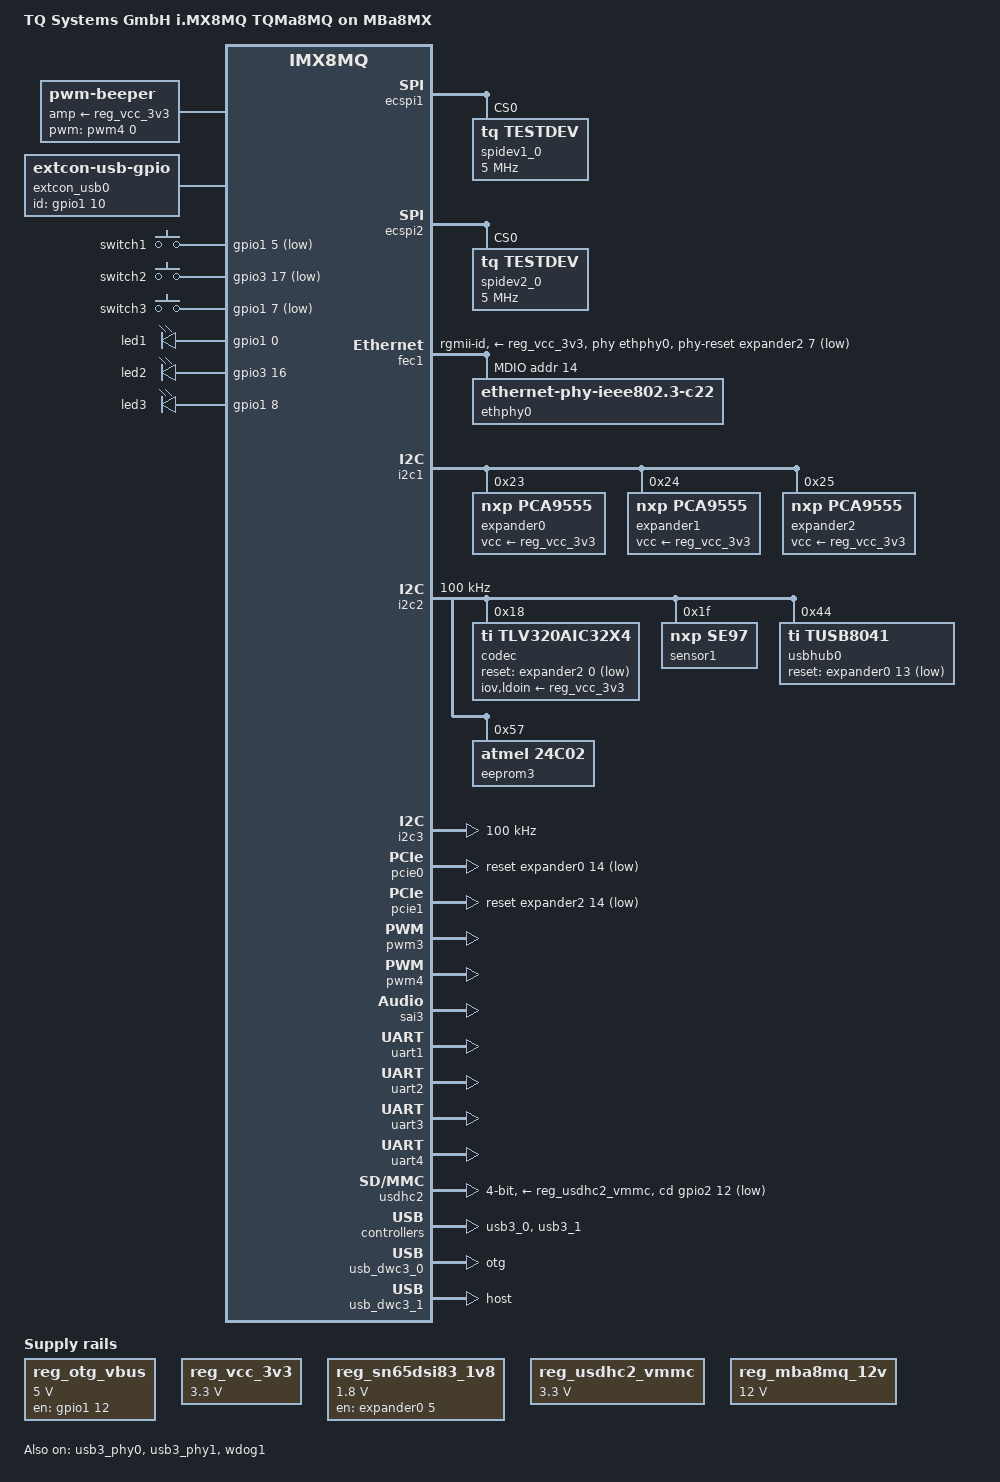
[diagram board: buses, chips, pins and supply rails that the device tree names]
/*
 * Copyright (C) 2016 Freescale Semiconductor, Inc.
 * Copyright 2017 NXP
 * Copyright 2019 TQ Systems GmbH
 *
 * This program is free software; you can redistribute it and/or
 * modify it under the terms of the GNU General Public License
 * as published by the Free Software Foundation; either version 2
 * of the License, or (at your option) any later version.
 *
 * This program is distributed in the hope that it will be useful,
 * but WITHOUT ANY WARRANTY; without even the implied warranty of
 * MERCHANTABILITY or FITNESS FOR A PARTICULAR PURPOSE.  See the
 * GNU General Public License for more details.
 */

/dts-v1/;

#include "fsl-imx8mq-tqma8mq.dtsi"
#include <dt-bindings/net/ti-dp83867.h>

/ {
	model = "TQ Systems GmbH i.MX8MQ TQMa8MQ on MBa8MX";
	compatible = "tq,imx8mq-tqma8mq-mba8mx", "tq,imx8mq-tqma8mq", "fsl,imx8mq";

	backlight_lvds0: backlight0 {
		compatible = "pwm-backlight";
		pwms = <&pwm3 0 5000000>;
		brightness-levels = <0 4 8 16 32 64 128 255>;
		default-brightness-level = <7>;
		power-supply = <&reg_mba8mq_12v>;
		enable-gpios = <&expander2 2 GPIO_ACTIVE_HIGH>;
		status = "disabled";
	};

	beeper {
		compatible = "pwm-beeper";
		pwms = <&pwm4 0 250000 0>;
		beeper-hz = <4000>;
		amp-supply = <&reg_vcc_3v3>;
		status = "okay";
	};

	chosen {
		bootargs = "console=ttymxc0,115200 earlycon=ec_imx6q,0x30860000,115200";
		stdout-path = &uart1;
	};

	extcon_usb0: extcon_usb0 {
		compatible = "linux,extcon-usb-gpio";
		pinctrl-names = "default";
		pinctrl-0 = <&pinctrl_usbcon0>;
		id-gpio = <&gpio1 10 GPIO_ACTIVE_HIGH>;
	};

	gpio-keys {
		compatible = "gpio-keys";
		autorepeat;

		switch1 {
			label = "switch1";
			linux,code = <BTN_0>;
			gpios = <&gpio1 5 GPIO_ACTIVE_LOW>;
		};

		switch2 {
			label = "switch2";
			linux,code = <BTN_1>;
			gpios = <&gpio3 17 GPIO_ACTIVE_LOW>;
		};

		switch3 {
			label = "switch3";
			linux,code = <BTN_2>;
			gpios = <&gpio1 7 GPIO_ACTIVE_LOW>;
		};
	};

	gpio-leds {
		compatible = "gpio-leds";
		status = "okay";

		led1 {
			label = "led1";
			gpios = <&gpio1 0 GPIO_ACTIVE_HIGH>;
			linux,default-trigger = "default-on";
		};

		led2 {
			label = "led2";
			gpios = <&gpio3 16 GPIO_ACTIVE_HIGH>;
			linux,default-trigger = "heartbeat";
		};

		led3 {
			label = "led3";
			gpios = <&gpio1 8 GPIO_ACTIVE_HIGH>;
		};
	};

	panel0: panel_lvds0 {
		backlight = <&backlight_lvds0>;
		power-supply = <&reg_mba8mq_12v>;
		status = "disabled";

		port {
			panel_in_lvds0: endpoint {
				remote-endpoint = <&lvds_bridge_out>;
			};
		};
	};

	reg_otg_vbus: mba8x_otg_vbus {
		compatible = "regulator-fixed";
		pinctrl-names = "default";
		pinctrl-0 = <&pinctrl_regotgvbus>;
		regulator-name = "MBA8MQ_OTG_VBUS";
		regulator-min-microvolt = <5000000>;
		regulator-max-microvolt = <5000000>;
		gpio = <&gpio1 12 GPIO_ACTIVE_HIGH>;
		enable-active-high;
	};

	reg_vcc_3v3: mba8x_vcc_3v3 {
		compatible = "regulator-fixed";
		regulator-name = "MBA8MQ_3V3";
		regulator-min-microvolt = <3300000>;
		regulator-max-microvolt = <3300000>;
	};

	reg_sn65dsi83_1v8: sn65dsi83_1v8 {
		compatible = "regulator-fixed";
		regulator-name = "SN65DSI83_1V8";
		regulator-min-microvolt = <1800000>;
		regulator-max-microvolt = <1800000>;
		gpio = <&expander0 5 GPIO_ACTIVE_HIGH>;
		enable-active-high;
		status = "okay";
	};

	reg_usdhc2_vmmc: usdhc2_vmmc {
		compatible = "regulator-fixed";
		regulator-name = "VSD_3V3";
		regulator-min-microvolt = <3300000>;
		regulator-max-microvolt = <3300000>;
	};

	reg_mba8mq_12v: mba8mq_12v {
		compatible = "regulator-fixed";
		regulator-name = "MBA8MQ_12V";
		regulator-min-microvolt = <12000000>;
		regulator-max-microvolt = <12000000>;
		regulator-always-on;
		status = "okay";
	};

	sound {
		compatible = "fsl,imx-audio-tlv320aic32x4";
		model = "imx8mq-mba8mx-tlv320aic32";
		ssi-controller = <&sai3>;
		audio-codec = <&codec>;
	};

	sound-hdmi {
		status = "disabled";
	};
};

&clk {
	assigned-clocks = <&clk IMX8MQ_AUDIO_PLL1>, <&clk IMX8MQ_AUDIO_PLL2>;
	assigned-clock-rates = <786432000>, <722534400>;
};

&ecspi1 {
	pinctrl-names = "default";
	pinctrl-0 = <&pinctrl_ecspi1>;
	num-cs = <1>;
	status = "okay";

	spidev1_0: spidev1@0 {
		reg = <0>;
		compatible = "tq,testdev";
		spi-max-frequency = <5000000>;
		status = "okay";
	};
};

&ecspi2 {
	pinctrl-names = "default";
	pinctrl-0 = <&pinctrl_ecspi2>;
	num-cs = <1>;
	status = "okay";

	spidev2_0: spidev2@0 {
		reg = <0>;
		compatible = "tq,testdev";
		spi-max-frequency = <5000000>;
		status = "okay";
	};
};

&fec1 {
	pinctrl-names = "default";
	pinctrl-0 = <&pinctrl_fec1>;
	phy-mode = "rgmii-id";
	phy-handle = <&ethphy0>;
	phy-supply = <&reg_vcc_3v3>;
	fsl,magic-packet;
	phy-reset-gpios = <&expander2 7 GPIO_ACTIVE_LOW>;
	phy-reset-duration = <500>;
	status = "okay";

	mdio {
		#address-cells = <1>;
		#size-cells = <0>;

		ethphy0: ethernet-phy@e {
			compatible = "ethernet-phy-ieee802.3-c22";
			reg = <0x0e>;
			ti,rx-internal-delay = <DP83867_RGMIIDCTL_2_50_NS>;
			ti,tx-internal-delay = <DP83867_RGMIIDCTL_2_50_NS>;
			ti,dp83867-rxctrl-strap-quirk;
			ti,led-cfg1 = <0x0100>; /* LED0: Link, LED2: activity */
			ti,led-cfg2 = <0x1010>; /* active low, LED0/2 driven by phy */
		};
	};
};

&hdmi {
	status = "disabled";
};

&iomuxc {
	pinctrl_fec1: fec1grp {
		fsl,pins = <
			MX8MQ_IOMUXC_ENET_MDC_ENET1_MDC		0x3
			MX8MQ_IOMUXC_ENET_MDIO_ENET1_MDIO	0x23
			MX8MQ_IOMUXC_ENET_TD3_ENET1_RGMII_TD3	0x1f
			MX8MQ_IOMUXC_ENET_TD2_ENET1_RGMII_TD2	0x1f
			MX8MQ_IOMUXC_ENET_TD1_ENET1_RGMII_TD1	0x1f
			MX8MQ_IOMUXC_ENET_TD0_ENET1_RGMII_TD0	0x1f
			MX8MQ_IOMUXC_ENET_RD3_ENET1_RGMII_RD3	0x91
			MX8MQ_IOMUXC_ENET_RD2_ENET1_RGMII_RD2	0x91
			MX8MQ_IOMUXC_ENET_RD1_ENET1_RGMII_RD1	0x91
			MX8MQ_IOMUXC_ENET_RD0_ENET1_RGMII_RD0	0x91
			MX8MQ_IOMUXC_ENET_TXC_ENET1_RGMII_TXC	0x1f
			MX8MQ_IOMUXC_ENET_RXC_ENET1_RGMII_RXC	0x91
			MX8MQ_IOMUXC_ENET_RX_CTL_ENET1_RGMII_RX_CTL	0x91
			MX8MQ_IOMUXC_ENET_TX_CTL_ENET1_RGMII_TX_CTL	0x1f
		>;
	};

	pinctrl_ecspi1: ecspi1grp {
		fsl,pins = <
			MX8MQ_IOMUXC_ECSPI1_SCLK_ECSPI1_SCLK		0x00000079
			MX8MQ_IOMUXC_ECSPI1_MOSI_ECSPI1_MOSI		0x00000079
			MX8MQ_IOMUXC_ECSPI1_MISO_ECSPI1_MISO		0x00000079
			MX8MQ_IOMUXC_ECSPI1_SS0_ECSPI1_SS0		0x00000079
		>;
	};

	pinctrl_ecspi2: ecspi2grp {
		fsl,pins = <
			MX8MQ_IOMUXC_ECSPI2_SCLK_ECSPI2_SCLK		0x00000079
			MX8MQ_IOMUXC_ECSPI2_MOSI_ECSPI2_MOSI		0x00000079
			MX8MQ_IOMUXC_ECSPI2_MISO_ECSPI2_MISO		0x00000079
			MX8MQ_IOMUXC_ECSPI2_SS0_ECSPI2_SS0		0x00000079
		>;
	};

	pinctrl_gpiobutton: gpiobuttongrp {
		fsl,pins = <
			MX8MQ_IOMUXC_GPIO1_IO05_GPIO1_IO5		0x41
			MX8MQ_IOMUXC_GPIO1_IO07_GPIO1_IO7		0x41
			MX8MQ_IOMUXC_NAND_WE_B_GPIO3_IO17		0x41
		>;
	};

	pinctrl_gpioled: gpioledgrp {
		fsl,pins = <
			MX8MQ_IOMUXC_GPIO1_IO00_GPIO1_IO0		0x01
			MX8MQ_IOMUXC_GPIO1_IO08_GPIO1_IO8		0x01
			MX8MQ_IOMUXC_NAND_READY_B_GPIO3_IO16		0x01
		>;
	};

	pinctrl_i2c2: i2c2grp {
		fsl,pins = <
			MX8MQ_IOMUXC_I2C2_SCL_I2C2_SCL			0x40000067
			MX8MQ_IOMUXC_I2C2_SDA_I2C2_SDA			0x40000067
		>;
	};

	pinctrl_i2c3: i2c3grp {
		fsl,pins = <
			MX8MQ_IOMUXC_I2C3_SCL_I2C3_SCL			0x40000067
			MX8MQ_IOMUXC_I2C3_SDA_I2C3_SDA			0x40000067
		>;
	};

	pinctrl_pwm3: pwm3grp {
		fsl,pins = <
			MX8MQ_IOMUXC_GPIO1_IO14_PWM3_OUT		0x16
		>;
	};

	pinctrl_pwm4: pwm4grp {
		fsl,pins = <
			MX8MQ_IOMUXC_GPIO1_IO15_PWM4_OUT		0x16
		>;
	};

	pinctrl_regotgvbus: reggotgvbusgrp {
		fsl,pins = <
			/* USB1 OTG PWR as GPIO */
			MX8MQ_IOMUXC_GPIO1_IO12_GPIO1_IO12		0x06
		>;
	};

	pinctrl_sai3: sai3grp {
		fsl,pins = <
			MX8MQ_IOMUXC_SAI3_MCLK_SAI3_MCLK	0xd6
			MX8MQ_IOMUXC_SAI3_RXC_SAI3_RX_BCLK	0xd6
			MX8MQ_IOMUXC_SAI3_RXFS_SAI3_RX_SYNC	0xd6
			MX8MQ_IOMUXC_SAI3_RXD_SAI3_RX_DATA0	0xd6
			MX8MQ_IOMUXC_SAI3_TXFS_SAI3_TX_SYNC	0xd6
			MX8MQ_IOMUXC_SAI3_TXD_SAI3_TX_DATA0	0xd6
			MX8MQ_IOMUXC_SAI3_TXC_SAI3_TX_BCLK	0xd6
		>;
	};

	pinctrl_uart1: uart1grp {
		fsl,pins = <
			MX8MQ_IOMUXC_UART1_RXD_UART1_DCE_RX	0x79
			MX8MQ_IOMUXC_UART1_TXD_UART1_DCE_TX	0x79
		>;
	};

	pinctrl_uart2: uart2grp {
		fsl,pins = <
			MX8MQ_IOMUXC_UART2_RXD_UART2_DCE_RX	0x79
			MX8MQ_IOMUXC_UART2_TXD_UART2_DCE_TX	0x79
		>;
	};

	pinctrl_uart3: uart3grp {
		fsl,pins = <
			MX8MQ_IOMUXC_UART3_RXD_UART3_DCE_RX	0x79
			MX8MQ_IOMUXC_UART3_TXD_UART3_DCE_TX	0x79
		>;
	};

	pinctrl_uart4: uart4grp {
		fsl,pins = <
			MX8MQ_IOMUXC_UART4_RXD_UART4_DCE_RX	0x79
			MX8MQ_IOMUXC_UART4_TXD_UART4_DCE_TX	0x79
		>;
	};

	pinctrl_usbcon0: usb0congrp {
		fsl,pins = <
			/* ID: floating / high: device, low: host -> use PU */
			MX8MQ_IOMUXC_GPIO1_IO10_GPIO1_IO10		0xe6
		>;
	};
#if 0
	pinctrl_usb0: usb0grp {
		fsl,pins = <
/* TODO: OC detection not functional in dwc3, pin mux will lead to non functional USB */
/*			MX8MQ_IOMUXC_GPIO1_IO13_USB1_OTG_OC		0x01 */
		>;
	};
#endif
	pinctrl_usdhc2_gpio: usdhc2grpgpio {
		fsl,pins = <
			MX8MQ_IOMUXC_SD2_CD_B_GPIO2_IO12	0x41
		>;
	};

	pinctrl_usdhc2: usdhc2grp {
		fsl,pins = <
			MX8MQ_IOMUXC_SD2_CLK_USDHC2_CLK			0x83
			MX8MQ_IOMUXC_SD2_CMD_USDHC2_CMD			0xc3
			MX8MQ_IOMUXC_SD2_DATA0_USDHC2_DATA0		0xc3
			MX8MQ_IOMUXC_SD2_DATA1_USDHC2_DATA1		0xc3
			MX8MQ_IOMUXC_SD2_DATA2_USDHC2_DATA2		0xc3
			MX8MQ_IOMUXC_SD2_DATA3_USDHC2_DATA3		0xc3
			MX8MQ_IOMUXC_GPIO1_IO04_USDHC2_VSELECT		0xc1
		>;
	};

	pinctrl_usdhc2_100mhz: usdhc2grp100mhz {
		fsl,pins = <
			MX8MQ_IOMUXC_SD2_CLK_USDHC2_CLK			0x85
			MX8MQ_IOMUXC_SD2_CMD_USDHC2_CMD			0xc5
			MX8MQ_IOMUXC_SD2_DATA0_USDHC2_DATA0		0xc5
			MX8MQ_IOMUXC_SD2_DATA1_USDHC2_DATA1		0xc5
			MX8MQ_IOMUXC_SD2_DATA2_USDHC2_DATA2		0xc5
			MX8MQ_IOMUXC_SD2_DATA3_USDHC2_DATA3		0xc5
			MX8MQ_IOMUXC_GPIO1_IO04_USDHC2_VSELECT		0xc1
		>;
	};

	pinctrl_usdhc2_200mhz: usdhc2grp200mhz {
		fsl,pins = <
			MX8MQ_IOMUXC_SD2_CLK_USDHC2_CLK			0x87
			MX8MQ_IOMUXC_SD2_CMD_USDHC2_CMD			0xc7
			MX8MQ_IOMUXC_SD2_DATA0_USDHC2_DATA0		0xc7
			MX8MQ_IOMUXC_SD2_DATA1_USDHC2_DATA1		0xc7
			MX8MQ_IOMUXC_SD2_DATA2_USDHC2_DATA2		0xc7
			MX8MQ_IOMUXC_SD2_DATA3_USDHC2_DATA3		0xc7
			MX8MQ_IOMUXC_GPIO1_IO04_USDHC2_VSELECT		0xc1
		>;
	};
};

&i2c1 {
	systemcontroller: syscon@11 {
		reg = <0x11>;
		status = "disabled";
	};

	expander0: gpio@23 {
		compatible = "nxp,pca9555";
		reg = <0x23>;
		gpio-controller;
		#gpio-cells = <2>;
		vcc-supply = <&reg_vcc_3v3>;

		sd-mux-oe {
			gpio-hog;
			gpios = <8 0>;
			output-low;
			line-name = "SD_MUX_EN#";
		};

		boot-cfg-oe {
			gpio-hog;
			gpios = <12 0>;
			output-high;
			line-name = "BOOT_CFG_OE#";
		};
	};

	expander1: gpio@24 {
		compatible = "nxp,pca9555";
		reg = <0x24>;
		gpio-controller;
		#gpio-cells = <2>;
		vcc-supply = <&reg_vcc_3v3>;
	};

	expander2: gpio@25 {
		compatible = "nxp,pca9555";
		reg = <0x25>;
		gpio-controller;
		#gpio-cells = <2>;
		vcc-supply = <&reg_vcc_3v3>;
	};
};

&i2c2 {
	clock-frequency = <100000>;
	pinctrl-names = "default";
	pinctrl-0 = <&pinctrl_i2c2>;
	status = "okay";

	codec: tlv320aic3x04@18 {
		compatible = "ti,tlv320aic32x4";
		reg = <0x18>;
		reset-gpios = <&expander2 0 GPIO_ACTIVE_LOW>;

		clocks = <&clk IMX8MQ_CLK_SAI3_ROOT>;
		clock-names = "mclk";

		status = "okay";
		iov-supply = <&reg_vcc_3v3>;
		ldoin-supply = <&reg_vcc_3v3>;
	};

	/*
	 * NXP SE97BTP with temperature sensor + eeprom
	 * ATTENTION: do not use correct dt compatible since this will conflict
	 * with hwmon sysfs ABI and break device registration
	 */
	sensor1: jc42@1f {
		compatible = "nxp,se97", "jedec,jc-42.4-temp";
		reg = <0x1f>;
		status = "okay";
	};

	usbhub0: usbhub@44 {
		compatible = "ti,tusb8041", "ti,tusb80xx";
		reg = <0x44>;
		reset-gpios = <&expander0 13 GPIO_ACTIVE_LOW>;
		status = "okay";
	};

	eeprom3: 24c02@57 {
		compatible = "atmel,24c02";
		reg = <0x57>;
		pagesize = <16>;
		status = "okay";
	};

	/* PCIe clk */
	pciclk: 9fgv0441ak@68 {
		reg = <0x68>;
		status = "disabled";
	};
};

&i2c3 {
	clock-frequency = <100000>;
	pinctrl-names = "default";
	pinctrl-0 = <&pinctrl_i2c3>;
	status = "okay";

	dsi_lvds_bridge: sn65dsi84@2d {
		compatible = "ti,sn65dsi83";
		reg = <0x2d>;
		enable-gpio = <&expander0 6 GPIO_ACTIVE_HIGH>;
		vcc1v8-supply = <&reg_sn65dsi83_1v8>;
		status = "disabled";

		ports {
			#address-cells = <1>;
			#size-cells = <0>;

			port@1 {
				reg = <1>;

				lvds_bridge_out: endpoint {
					remote-endpoint = <&panel_in_lvds0>;
				};
			};
		};
	};
};

&lcdif {
	status = "disabled";
};

&pcie0{
	ext_osc = <1>;
	reset-gpio = <&expander0 14 GPIO_ACTIVE_LOW>;
	epdev_on-supply = <&reg_vcc_3v3>;
	status = "okay";
};

&pcie1{
	disable-gpio = <&expander2 13 GPIO_ACTIVE_LOW>;
	reset-gpio = <&expander2 14 GPIO_ACTIVE_LOW>;
	ext_osc = <1>;
	epdev_on-supply = <&reg_vcc_3v3>;
	status = "okay";
};

&pwm3 {
	pinctrl-names = "default";
	pinctrl-0 = <&pinctrl_pwm3>;
	status = "okay";
};

&pwm4 {
	pinctrl-names = "default";
	pinctrl-0 = <&pinctrl_pwm4>;
	status = "okay";
};

&sai3 {
	pinctrl-names = "default";
	pinctrl-0 = <&pinctrl_sai3>;
	#sound-dai-cells = <0>;
	assigned-clocks = <&clk IMX8MQ_CLK_SAI3>;
	assigned-clock-parents = <&clk IMX8MQ_AUDIO_PLL1_OUT>;
	assigned-clock-rates = <49152000>;
	clocks = <&clk IMX8MQ_CLK_SAI3_IPG>, <&clk IMX8MQ_CLK_DUMMY>,
		<&clk IMX8MQ_CLK_SAI3_ROOT>, <&clk IMX8MQ_CLK_DUMMY>,
		<&clk IMX8MQ_CLK_DUMMY>, <&clk IMX8MQ_AUDIO_PLL1_OUT>,
		<&clk IMX8MQ_AUDIO_PLL2_OUT>;
	clock-names = "bus", "mclk0", "mclk1", "mclk2", "mclk3", "pll8k", "pll11k";
	status = "okay";
};

&uart1 { /* console */
	pinctrl-names = "default";
	pinctrl-0 = <&pinctrl_uart1>;
	assigned-clocks = <&clk IMX8MQ_CLK_UART1>;
	assigned-clock-parents = <&clk IMX8MQ_CLK_25M>;
	status = "okay";
};

&uart2 {
	pinctrl-names = "default";
	pinctrl-0 = <&pinctrl_uart2>;
	assigned-clocks = <&clk IMX8MQ_CLK_UART2>;
	assigned-clock-parents = <&clk IMX8MQ_SYS1_PLL_80M>;
	status = "okay";
};

&uart3 {
	pinctrl-names = "default";
	pinctrl-0 = <&pinctrl_uart3>;
	assigned-clocks = <&clk IMX8MQ_CLK_UART3>;
	assigned-clock-parents = <&clk IMX8MQ_SYS1_PLL_80M>;
	status = "okay";
};

&uart4 {
	pinctrl-names = "default";
	pinctrl-0 = <&pinctrl_uart4>;
	assigned-clocks = <&clk IMX8MQ_CLK_UART4>;
	assigned-clock-parents = <&clk IMX8MQ_SYS1_PLL_80M>;
	status = "okay";
};

&usdhc2 {
	pinctrl-names = "default", "state_100mhz", "state_200mhz";
	pinctrl-0 = <&pinctrl_usdhc2>, <&pinctrl_usdhc2_gpio>;
	pinctrl-1 = <&pinctrl_usdhc2_100mhz>, <&pinctrl_usdhc2_gpio>;
	pinctrl-2 = <&pinctrl_usdhc2_200mhz>, <&pinctrl_usdhc2_gpio>;
	bus-width = <4>;
	cd-gpios = <&gpio2 12 GPIO_ACTIVE_LOW>;
	disable-wp;
	vmmc-supply = <&reg_usdhc2_vmmc>;
	status = "okay";
};


/* TODO: not working */
&usb3_phy0 {
	vbus-supply = <&reg_otg_vbus>;
	status = "okay";
};

&usb3_0 {
	status = "okay";
};

&usb_dwc3_0 {
	status = "okay";
	extcon = <&extcon_usb0>;
	dr_mode = "otg";
};

&usb3_phy1 {
	status = "okay";
};

&usb3_1 {
	status = "okay";
};

&usb_dwc3_1 {
	status = "okay";
	dr_mode = "host";
};

&wdog1 {
	pinctrl-names = "default";
	pinctrl-0 = <&pinctrl_wdog>;
	fsl,ext-reset-output;
	status = "okay";
};
